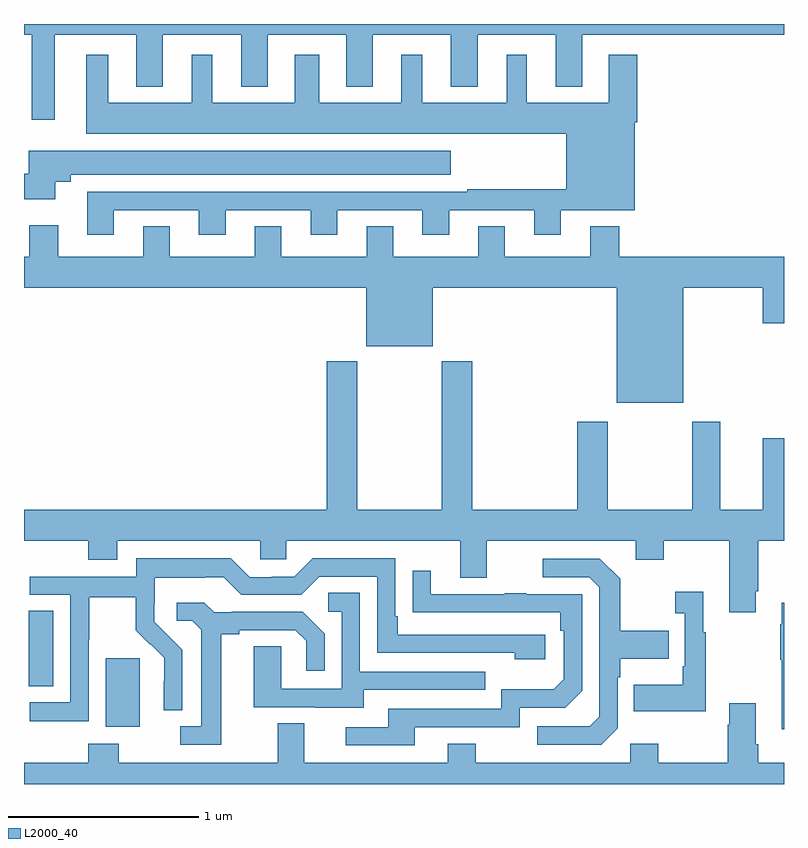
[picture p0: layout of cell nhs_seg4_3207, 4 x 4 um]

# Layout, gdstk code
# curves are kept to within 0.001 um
import gdstk
lib = gdstk.Library(unit=1e-6, precision=1e-09)
def R(c, l, rs):  # rectangles x0, y0, x1, y1
    for r in rs: c.add(gdstk.rectangle(r[:2], r[2:], *l))
def P(c, l, *ps):  # polygons
    for p in ps: c.add(gdstk.Polygon(p, *l))
L2000_40 = (2000, 40)

nhs_seg4_3207 = lib.new_cell('nhs_seg4_3207')
R(nhs_seg4_3207, L2000_40, [(281.429,769.202,281.608,769.563), (281.024,769.414,281.155,769.811)])
P(nhs_seg4_3207, L2000_40, [(283.387,772.844),(283.799,772.844),(283.799,772.571),(283.939,772.571),(283.939,772.844),(285,772.844),(285,772.9),(281,772.9),(281,772.844),(281.04,772.844),(281.04,772.395),(281.161,772.395),(281.161,772.844),(281.591,772.844),(281.591,772.571),(281.731,772.571),(281.731,772.844),(282.143,772.844),(282.143,772.571),(282.283,772.571),(282.283,772.844),(282.695,772.844),(282.695,772.571),(282.835,772.571),(282.835,772.844),(283.247,772.844),(283.247,772.571),(283.387,772.571)],
  [(281.473,771.921),(281.921,771.921),(281.921,771.792),(282.061,771.792),(282.061,771.921),(282.509,771.921),(282.509,771.792),(282.649,771.792),(282.649,771.921),(283.097,771.921),(283.097,771.792),(283.237,771.792),(283.237,771.921),(283.685,771.921),(283.685,771.792),(283.825,771.792),(283.825,771.92),(284.215,771.92),(284.215,772.382),(284.228,772.382),(284.228,772.738),(284.078,772.738),(284.078,772.486),(283.645,772.486),(283.645,772.738),(283.541,772.738),(283.541,772.486),(283.096,772.486),(283.096,772.738),(282.986,772.738),(282.986,772.486),(282.553,772.486),(282.553,772.738),(282.425,772.738),(282.425,772.486),(281.992,772.486),(281.992,772.738),(281.882,772.738),(281.882,772.486),(281.443,772.486),(281.443,772.738),(281.327,772.738),(281.327,772.322),(283.853,772.322),(283.853,772.03),(283.333,772.03),(283.333,772.017),(281.333,772.017),(281.333,771.792),(281.473,771.792)],
  [(281.164,772.07),(281.245,772.07),(281.245,772.106),(283.246,772.106),(283.246,772.234),(281.024,772.234),(281.024,772.112),(281,772.112),(281,771.977),(281.164,771.977)],
  [(284.47,771.512),(284.888,771.512),(284.888,771.324),(285,771.324),(285,771.676),(284.132,771.676),(284.132,771.835),(283.979,771.835),(283.979,771.676),(283.531,771.676),(283.531,771.836),(283.391,771.836),(283.391,771.676),(282.943,771.676),(282.943,771.836),(282.803,771.836),(282.803,771.676),(282.355,771.676),(282.355,771.836),(282.215,771.836),(282.215,771.676),(281.767,771.676),(281.767,771.836),(281.627,771.836),(281.627,771.676),(281.179,771.676),(281.179,771.841),(281.027,771.841),(281.027,771.676),(281,771.676),(281,771.512),(282.8,771.512),(282.8,771.203),(283.15,771.203),(283.15,771.512),(284.12,771.512),(284.12,770.906),(284.47,770.906)],
  [(282.593,771.124),(282.593,770.344),(281,770.344),(281,770.18),(281.339,770.18),(281.339,770.081),(281.491,770.081),(281.491,770.18),(282.243,770.18),(282.243,770.082),(282.381,770.082),(282.381,770.18),(283.295,770.18),(283.295,769.986),(283.435,769.986),(283.435,770.18),(284.219,770.18),(284.219,770.081),(284.367,770.081),(284.367,770.18),(284.711,770.18),(284.711,769.803),(284.851,769.803),(284.851,769.915),(284.864,769.915),(284.864,770.18),(285,770.18),(285,770.719),(284.888,770.719),(284.888,770.344),(284.665,770.344),(284.665,770.806),(284.518,770.806),(284.518,770.344),(284.073,770.344),(284.073,770.806),(283.913,770.806),(283.913,770.344),(283.358,770.344),(283.358,771.124),(283.198,771.124),(283.198,770.344),(282.753,770.344),(282.753,771.124)],
  [(281.34,769.66),(281.343,769.66),(281.343,769.884),(281.587,769.884),(281.587,769.709),(281.664,769.632),(281.667,769.635),(281.738,769.565),(281.738,769.442),(281.736,769.442),(281.736,769.288),(281.832,769.288),(281.832,769.606),(281.686,769.754),(281.686,769.851),(281.688,769.851),(281.688,769.985),(281.951,769.985),(281.951,769.989),(282.051,769.989),(282.144,769.896),(282.459,769.896),(282.555,769.992),(282.858,769.992),(282.858,769.59),(283.583,769.59),(283.583,769.556),(283.744,769.556),(283.744,769.686),(282.967,769.686),(282.967,769.783),(282.954,769.783),(282.954,770.088),(282.519,770.088),(282.423,769.992),(282.305,769.992),(282.305,769.989),(282.189,769.989),(282.089,770.089),(281.592,770.089),(281.592,769.992),(281.031,769.992),(281.031,769.896),(281.244,769.896),(281.244,769.329),(281.031,769.329),(281.031,769.231),(281.34,769.231)],
  [(284.124,769.194),(284.124,769.463),(284.137,769.463),(284.137,769.559),(284.393,769.559),(284.393,769.707),(284.137,769.707),(284.137,769.979),(284.031,770.085),(283.731,770.085),(283.731,769.989),(283.974,769.989),(284.028,769.935),(284.028,769.254),(283.977,769.203),(283.701,769.203),(283.701,769.107),(284.037,769.107)],
  [(283.057,769.2),(283.608,769.2),(283.608,769.302),(283.848,769.302),(283.938,769.392),(283.938,769.899),(283.643,769.899),(283.643,769.904),(283.531,769.904),(283.531,769.899),(283.141,769.899),(283.141,770.023),(283.045,770.023),(283.045,769.804),(283.822,769.803),(283.822,769.706),(283.842,769.706),(283.842,769.452),(283.789,769.399),(283.512,769.399),(283.512,769.296),(282.917,769.296),(282.917,769.2),(282.693,769.2),(282.693,769.104),(283.057,769.104)],
  [(284.587,769.699),(284.575,769.699),(284.575,769.912),(284.427,769.912),(284.427,769.799),(284.478,769.799),(284.478,769.519),(284.466,769.519),(284.466,769.423),(284.209,769.423),(284.209,769.283),(284.587,769.283)],
  [(282.787,769.395),(283.427,769.395),(283.427,769.491),(282.768,769.491),(282.768,769.907),(282.6,769.907),(282.6,769.806),(282.672,769.806),(282.672,769.401),(282.354,769.401),(282.354,769.625),(282.209,769.625),(282.209,769.305),(282.533,769.305),(282.533,769.301),(282.787,769.301)],
  [(282.037,769.688),(282.133,769.688),(282.133,769.71),(282.428,769.71),(282.485,769.653),(282.485,769.497),(282.582,769.497),(282.582,769.69),(282.466,769.806),(282.094,769.806),(282.094,769.803),(282,769.803),(281.948,769.855),(281.805,769.855),(281.805,769.758),(281.886,769.758),(281.933,769.711),(281.933,769.203),(281.823,769.203),(281.823,769.107),(282.037,769.107)],
  [(285,769.855),(284.987,769.855),(284.987,769.742),(284.98,769.742),(284.98,769.553),(284.987,769.553),(284.987,769.188),(285,769.188)],
  [(285,769.012),(284.864,769.012),(284.864,769.108),(284.851,769.108),(284.851,769.324),(284.711,769.324),(284.711,769.211),(284.704,769.211),(284.704,769.012),(284.337,769.012),(284.337,769.111),(284.19,769.111),(284.19,769.012),(283.377,769.012),(283.377,769.111),(283.229,769.111),(283.229,769.012),(282.475,769.012),(282.475,769.22),(282.335,769.22),(282.335,769.012),(281.499,769.012),(281.499,769.111),(281.339,769.111),(281.339,769.012),(281,769.012),(281,768.9),(285,768.9)])

lib.write_gds('nhs_seg4_3207.gds')
